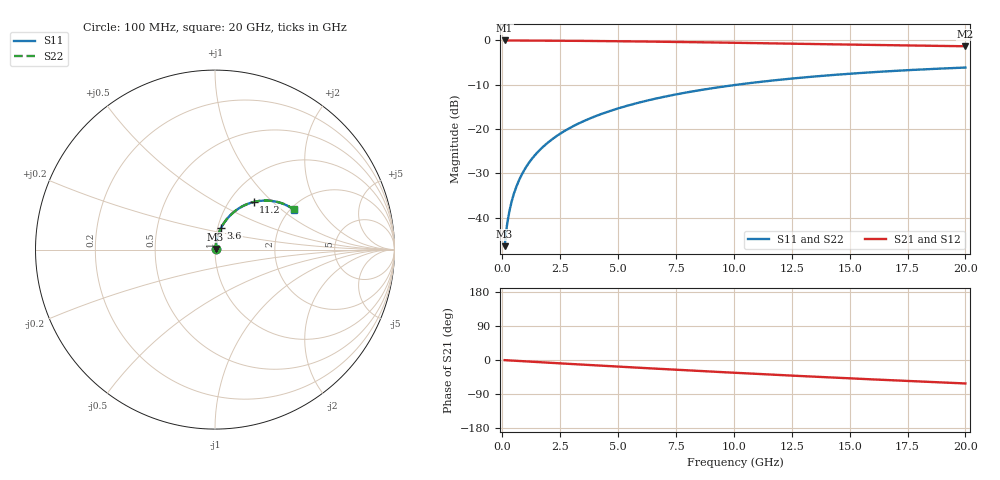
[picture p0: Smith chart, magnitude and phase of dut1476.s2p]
! Touchstone file exported from HFSS 2026.1.0
!  File:  C:/ffzhzh/LocalFiles/Ansys_Project_Files/temp_train_TMRDL_1476_1783167610_51560.aedt
!  Generated:  08:21:33 PM Jul  4, 2026
!  Design:  TMRDL
!  Project:  temp_train_TMRDL_1476_1783167610_51560
! Variables:
!  h_bsmrdl = 2um
!  h_ox = 20um
!  h_rdl = 5um
!  h_sub = 80um
!  h_tmrdl = 5.42um
!  h_tsv = 80um
!  h_via = 3um
!  l_bsmrdl = 300um
!  l_sub = 1386.35um
!  l_tmrdl = 986.35um
!  m_sub = 200um
!  pitch = 57.11um
!  r_tsv = 6um
!  s_tmrdl = 10um
!  w_bsmrdl = 18um
!  w_sub = 500um
!  w_tmrdl = 24.95um
!  x_tsv_center1 = 998.825um
!  x_tsv_center2 = 1316.825um
!  x_tsv_center3 = 2328.125um
!  x_tsv_center4 = 2646.125um
!  x_tsv_center5 = 3657.425um
!  x_tsv_center6 = 3975.425um
# GHz S MA R 50.000000
! Terminal data exported
! Port[1] = TM_RDL1_1_T1
! Port[2] = TM_RDL1_1_T2
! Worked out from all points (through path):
!   200 points, 100 MHz to 20 GHz, reference 50 ohm
!   highest |S21| = -0.02 dB at 100 MHz (marker M1); lowest = -1.3 dB at 20 GHz (marker M2)
!   group delay of S21, straight-line fit = 8.59 ps
!   lowest |S11| = -46.4 dB at 100 MHz (marker M3), VSWR 1.01, Z = 50.3 + j0.389 ohm
!   |S11| at or under -10 dB: start of sweep to 10.15 GHz
!   |S22| runs from -46.4 to -6.1 dB; largest |S21 - S12| = 9e-15
!   S11 on the Smith chart (normalised r, x): 100 MHz: 1.01, +0.01; 3.6 GHz: 1.04, +0.26; 11.2 GHz: 1.29, +0.77; 20 GHz: 2.09, +1.23
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0.1  0.004779 54.0  0.9972 -0.4  0.9972 -0.4  0.004779 54.0
! Gamma 0 0 0 0
! Port Impedance 50 0 50 0
0.2  0.008165 67.7  0.997 -0.7  0.997 -0.7  0.008166 67.7
0.3  0.01163 73.1  0.9968 -1.1  0.9968 -1.1  0.01163 73.1
0.4  0.01512 75.9  0.9966 -1.5  0.9966 -1.5  0.01511 75.9
0.5  0.01862 77.7  0.9965 -1.8  0.9965 -1.8  0.01862 77.7
0.7  0.02566 79.6  0.9962 -2.5  0.9962 -2.5  0.02566 79.6
0.8  0.0292 80.0  0.996 -2.9  0.996 -2.9  0.02919 80.0
1  0.03627 80.5  0.9956 -3.6  0.9956 -3.6  0.03627 80.5
1.4  0.0504 80.4  0.9947 -5.0  0.9947 -5.0  0.0504 80.4
1.7  0.06094 79.8  0.9938 -6.1  0.9938 -6.1  0.06094 79.9
2  0.0714 79.1  0.9928 -7.1  0.9928 -7.1  0.0714 79.2
2.7  0.09547 77.2  0.99 -9.6  0.99 -9.6  0.09547 77.2
3.5  0.1223 74.7  0.9862 -12.3  0.9862 -12.3  0.1223 74.7
3.6  0.1256 74.4  0.9857 -12.7  0.9857 -12.7  0.1256 74.4
5  0.1708 69.9  0.9775 -17.4  0.9775 -17.4  0.1708 70.0
6.8  0.2255 64.3  0.9652 -23.4  0.9652 -23.4  0.2254 64.3
8.3  0.268 59.6  0.9535 -28.2  0.9535 -28.2  0.268 59.7
10.1  0.3151 54.1  0.9385 -33.9  0.9385 -33.9  0.315 54.2
11.2  0.3417 50.9  0.9289 -37.3  0.9289 -37.3  0.3416 51.0
13.4  0.3896 44.5  0.9096 -43.8  0.9096 -43.8  0.3895 44.6
16.7  0.4487 35.4  0.882 -53.1  0.882 -53.1  0.4486 35.5
20  0.4934 26.7  0.858 -61.9  0.858 -61.9  0.4933 26.9
